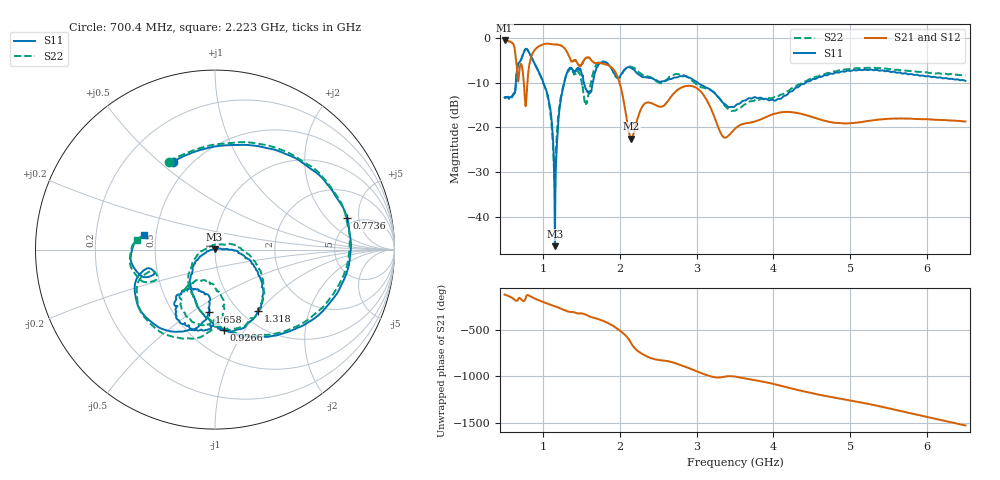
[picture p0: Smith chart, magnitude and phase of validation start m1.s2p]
# Hz S DB R 50
! CMT, S5065, 24347010, 24.3.4/3
! Date: 10/15/2024 10:10:52 PM
! Data: Format (Calibration Info)
! Freq	S11:dB/Ang(F2)	S21:dB/Ang(F2)	S12:dB/Ang(F2)	S22:dB/Ang(F2)
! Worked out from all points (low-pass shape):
!   10001 points, 500 MHz to 6.5 GHz, reference 50 ohm
!   highest |S21| = -0.55 dB at 500 MHz (marker M1); lowest = -22.5 dB at 2.15 GHz (marker M2)
!   |S21| within 3 dB of the highest: start of sweep to 640 MHz; 861.4 MHz to 1.325 GHz (464 MHz wide, 42.4 % of centre)
!   lowest |S11| = -46.5 dB at 1.155 GHz (marker M3), VSWR 1.01, Z = 49.8 + j0.41 ohm
!   |S11| at or under -10 dB: start of sweep to 644.8 MHz; 1.005 GHz to 1.275 GHz (270.7 MHz wide, 23.7 % of centre); 3.015 GHz to 4.418 GHz (1.403 GHz wide, 37.7 % of centre)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
!   |S22| runs from -31.4 to -2.4 dB; largest |S21 - S12| = 0.0086
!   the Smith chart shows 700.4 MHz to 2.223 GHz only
!   S11 on the Smith chart (normalised r, x): 700.4 MHz: 0.40, +0.55; 773.6 MHz: 4.27, +3.50; 926.6 MHz: 0.73, -0.81; 1.318 GHz: 1.19, -0.99; 1.658 GHz: 0.73, -0.59; 2.223 GHz: 0.43, +0.08
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5e8  -13.27 -30.8  -0.55 -123.6  -0.55 -123.5  -13.30 -33.3
6.41e8  -11.19 -98.1  -3.72 171.7  -3.72 171.9  -11.56 -104.7
7.004e8  -5.31 115.8  -6.24 -163.1  -6.24 -163.0  -5.16 117.5
7.736e8  -2.42 13.4  -15.22 -160.2  -15.20 -160.2  -2.47 17.4
8.378e8  -3.95 -43.1  -4.74 -143.4  -4.72 -143.4  -3.91 -39.9
9.266e8  -6.93 -83.4  -2.07 -178.4  -2.06 -178.3  -6.98 -82.5
1.0802e9  -14.64 -133.3  -1.28 132.6  -1.26 132.6  -15.09 -139.9
1.1546e9  -46.53 119.2  -1.43 110.8  -1.43 110.9  -31.39 66.0
1.3184e9  -7.54 -54.9  -3.35 57.2  -3.34 57.3  -7.79 -53.7
1.5002e9  -7.82 -122.1  -5.97 34.6  -5.99 34.8  -9.49 -124.8
1.5656e9  -11.60 -123.7  -4.42 18.1  -4.40 18.2  -14.48 -98.7
1.658e9  -9.09 -95.7  -5.48 -11.9  -5.47 -11.7  -7.41 -89.7
1.8842e9  -6.56 -159.0  -6.48 -84.3  -6.47 -84.3  -6.59 -156.7
1.9988e9  -8.66 -157.9  -10.12 -147.5  -10.12 -147.5  -8.88 -153.5
2.15e9  -6.74 179.2  -22.48 73.4  -22.45 73.4  -6.44 -174.3
2.2226e9  -7.83 168.5  -18.51 0.7  -18.51 0.8  -7.21 172.7
2.5004e9  -9.67 153.7  -15.27 -103.5  -15.27 -103.7  -9.89 154.5
2.9546e9  -9.35 115.8  -10.81 151.1  -10.80 150.7  -9.71 113.0
3.5e9  -15.24 108.5  -20.28 78.5  -20.29 78.1  -16.25 107.8
4.5002e9  -9.33 88.7  -17.63 -99.9  -17.64 -100.4  -9.11 90.3
5.5004e9  -7.40 9.3  -18.06 99.0  -18.09 98.5  -6.97 8.9
6.5e9  -9.56 -67.0  -18.67 -84.6  -18.72 -83.9  -8.42 -67.6
